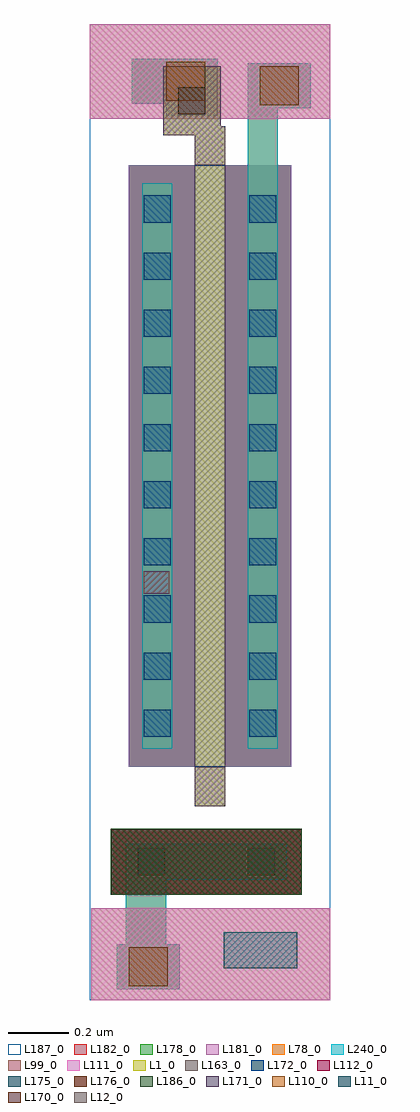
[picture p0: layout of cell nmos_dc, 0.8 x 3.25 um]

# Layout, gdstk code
import gdstk
lib = gdstk.Library(unit=1e-6, precision=1e-09)
def R(c, l, rs):  # rectangles x0, y0, x1, y1
    for r in rs: c.add(gdstk.rectangle(r[:2], r[2:], *l))
def A(c, l, x, y, w, h, nx, ny, dx, dy):  # array of equal rectangles
    R(c, l, [(x+i*dx, y+j*dy, x+i*dx+w, y+j*dy+h) for i in range(nx) for j in range(ny)])
def P(c, l, *ps):  # polygons
    for p in ps: c.add(gdstk.Polygon(p, *l))
L1_0 = (1, 0)
L11_0 = (11, 0)
L12_0 = (12, 0)
L78_0 = (78, 0)
L99_0 = (99, 0)
L110_0 = (110, 0)
L111_0 = (111, 0)
L112_0 = (112, 0)
L163_0 = (163, 0)
L170_0 = (170, 0)
L171_0 = (171, 0)
L172_0 = (172, 0)
L175_0 = (175, 0)
L176_0 = (176, 0)
L178_0 = (178, 0)
L181_0 = (181, 0)
L182_0 = (182, 0)
L186_0 = (186, 0)
L187_0 = (187, 0)
L240_0 = (240, 0)

nmos_dc = lib.new_cell('nmos_dc')
P(nmos_dc, L1_0, [(3.75,3.03),(3.75,2.83),(3.765,2.83),(3.765,0.57),(3.665,0.57),(3.665,2.8),(3.56,2.8),(3.56,3.03)])
R(nmos_dc, L11_0, [(3.76,0.03,4.005,0.15)])
R(nmos_dc, L12_0, [(3.495,1.275,3.58,1.35)])
R(nmos_dc, L78_0, [(3.49,0.76,3.59,2.64)])
P(nmos_dc, L78_0, [(4.05,3.04),(4.05,2.89),(3.94,2.89),(3.94,0.76),(3.84,0.76),(3.84,3.04)],
  [(3.74,3.055),(3.74,2.865),(3.57,2.865),(3.57,2.905),(3.455,2.905),(3.455,3.055)],
  [(3.97,0.445),(3.97,0.325),(3.57,0.325),(3.57,0.11),(3.615,0.11),(3.615,-0.04),(3.405,-0.04),(3.405,0.11),(3.435,0.11),(3.435,0.445)])
R(nmos_dc, L99_0, [(3.32,-0.075,4.115,0.23), (3.315,2.855,4.115,3.17)])
R(nmos_dc, L110_0, [(3.445,-0.03,3.575,0.1), (3.88,2.9,4.01,3.03), (3.57,2.915,3.7,3.045)])
R(nmos_dc, L111_0, [(3.32,-0.075,4.115,0.23), (3.315,2.855,4.115,3.17)])
R(nmos_dc, L112_0, [(3.385,0.275,4.02,0.495)])
R(nmos_dc, L163_0, [(3.665,0.7,3.765,2.7)])
R(nmos_dc, L170_0, [(3.61,2.87,3.7,2.96)])
R(nmos_dc, L171_0, [(3.665,0.57,3.765,0.7)])
P(nmos_dc, L171_0, [(3.75,3.03),(3.75,2.83),(3.765,2.83),(3.765,2.7),(3.665,2.7),(3.665,2.8),(3.56,2.8),(3.56,3.03)])
A(nmos_dc, L172_0, 3.495, 0.8, 0.09, 0.09, 1, 10, 0, 0.19)
A(nmos_dc, L172_0, 3.845, 0.8, 0.09, 0.09, 1, 10, 0, 0.19)
R(nmos_dc, L172_0, [(3.475,0.34,3.565,0.43), (3.84,0.34,3.93,0.43)])
R(nmos_dc, L175_0, [(3.385,0.275,4.02,0.495)])
R(nmos_dc, L176_0, [(3.385,0.275,4.02,0.495)])
R(nmos_dc, L178_0, [(3.445,0.7,3.665,2.7), (3.765,0.7,3.985,2.7)])
R(nmos_dc, L181_0, [(3.445,0.7,3.665,2.7), (3.765,0.7,3.985,2.7)])
R(nmos_dc, L182_0, [(3.385,0.275,4.02,0.495), (3.445,0.7,3.665,2.7), (3.765,0.7,3.985,2.7)])
R(nmos_dc, L186_0, [(3.385,0.275,4.02,0.495)])
R(nmos_dc, L187_0, [(3.315,-0.075,4.115,3.17)])
R(nmos_dc, L240_0, [(3.49,0.76,3.59,2.64)])
P(nmos_dc, L240_0, [(4.05,3.04),(4.05,2.89),(3.94,2.89),(3.94,0.76),(3.84,0.76),(3.84,3.04)],
  [(3.74,3.055),(3.74,2.865),(3.57,2.865),(3.57,2.905),(3.455,2.905),(3.455,3.055)],
  [(3.97,0.445),(3.97,0.325),(3.57,0.325),(3.57,0.11),(3.615,0.11),(3.615,-0.04),(3.405,-0.04),(3.405,0.11),(3.435,0.11),(3.435,0.445)])

lib.write_gds('nmos_dc.gds')
